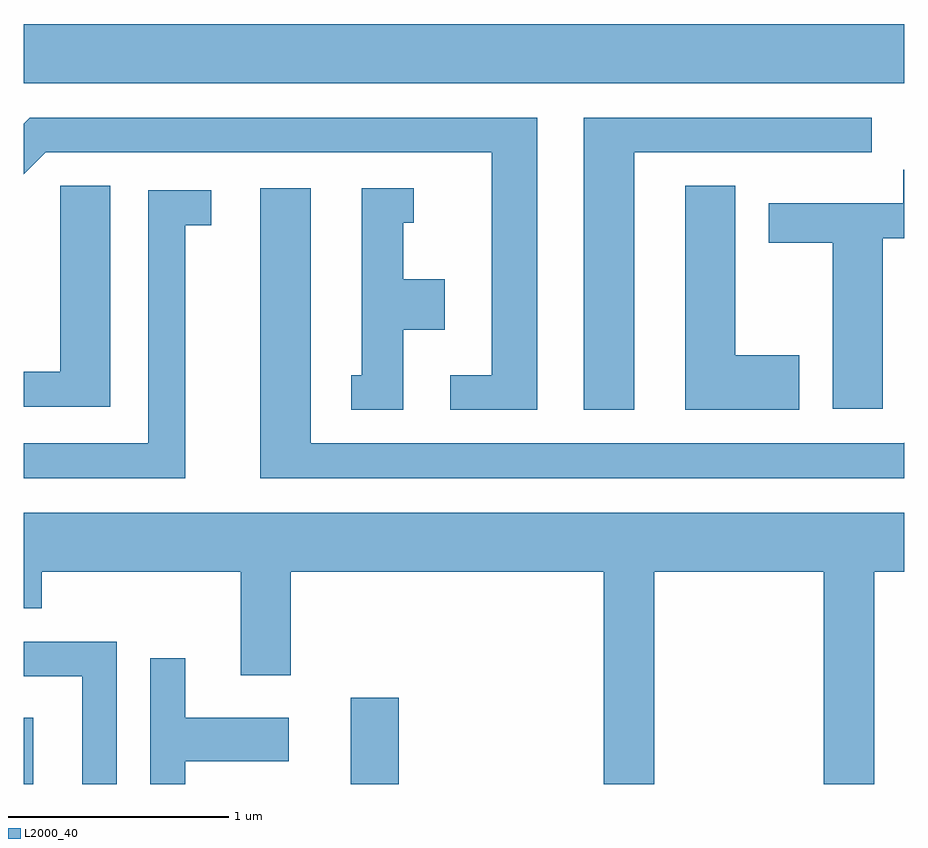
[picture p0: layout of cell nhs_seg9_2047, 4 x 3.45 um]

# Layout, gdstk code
import gdstk
lib = gdstk.Library(unit=1e-6, precision=1e-09)
def R(c, l, rs):  # rectangles x0, y0, x1, y1
    for r in rs: c.add(gdstk.rectangle(r[:2], r[2:], *l))
def P(c, l, *ps):  # polygons
    for p in ps: c.add(gdstk.Polygon(p, *l))
L2000_40 = (2000, 40)

nhs_seg9_2047 = lib.new_cell('nhs_seg9_2047')
R(nhs_seg9_2047, L2000_40, [(245.611,1966.432,245.654,1966.734), (247.096,1966.432,247.314,1966.824), (245.611,1969.616,249.611,1969.884)])
P(nhs_seg9_2047, L2000_40, [(248.384,1969.301),(249.463,1969.301),(249.463,1969.459),(248.156,1969.459),(248.156,1968.131),(248.384,1968.131)],
  [(247.944,1969.459),(245.639,1969.459),(245.611,1969.431),(245.611,1969.201),(245.712,1969.301),(247.736,1969.301),(247.736,1968.289),(247.548,1968.289),(247.548,1968.131),(247.944,1968.131)],
  [(249.514,1968.911),(249.611,1968.911),(249.611,1969.223),(249.606,1969.223),(249.606,1969.069),(248.996,1969.069),(248.996,1968.891),(249.286,1968.891),(249.286,1968.136),(249.514,1968.136)],
  [(246.004,1969.149),(245.776,1969.149),(245.776,1968.304),(245.611,1968.304),(245.611,1968.146),(246.004,1968.146)],
  [(249.134,1968.379),(248.844,1968.379),(248.844,1969.149),(248.616,1969.149),(248.616,1968.131),(249.134,1968.131)],
  [(247.334,1968.496),(247.524,1968.496),(247.524,1968.724),(247.334,1968.724),(247.334,1968.981),(247.383,1968.981),(247.383,1969.139),(247.146,1969.139),(247.146,1968.289),(247.098,1968.289),(247.098,1968.131),(247.334,1968.131)],
  [(249.611,1967.981),(249.609,1967.979),(246.914,1967.979),(246.914,1969.139),(246.686,1969.139),(246.686,1967.821),(249.611,1967.821)],
  [(246.344,1968.971),(246.463,1968.971),(246.463,1969.129),(246.176,1969.129),(246.176,1967.979),(245.611,1967.979),(245.611,1967.821),(246.344,1967.821)],
  [(248.474,1967.396),(249.246,1967.396),(249.246,1966.432),(249.474,1966.432),(249.474,1967.396),(249.611,1967.396),(249.611,1967.664),(245.611,1967.664),(245.611,1967.231),(245.694,1967.231),(245.694,1967.396),(246.596,1967.396),(246.596,1966.926),(246.824,1966.926),(246.824,1967.396),(248.246,1967.396),(248.246,1966.432),(248.474,1966.432)],
  [(246.034,1967.079),(245.611,1967.079),(245.611,1966.921),(245.876,1966.921),(245.876,1966.432),(246.034,1966.432)],
  [(246.344,1966.536),(246.814,1966.536),(246.814,1966.734),(246.344,1966.734),(246.344,1967.003),(246.186,1967.003),(246.186,1966.432),(246.344,1966.432)])

lib.write_gds('nhs_seg9_2047.gds')
